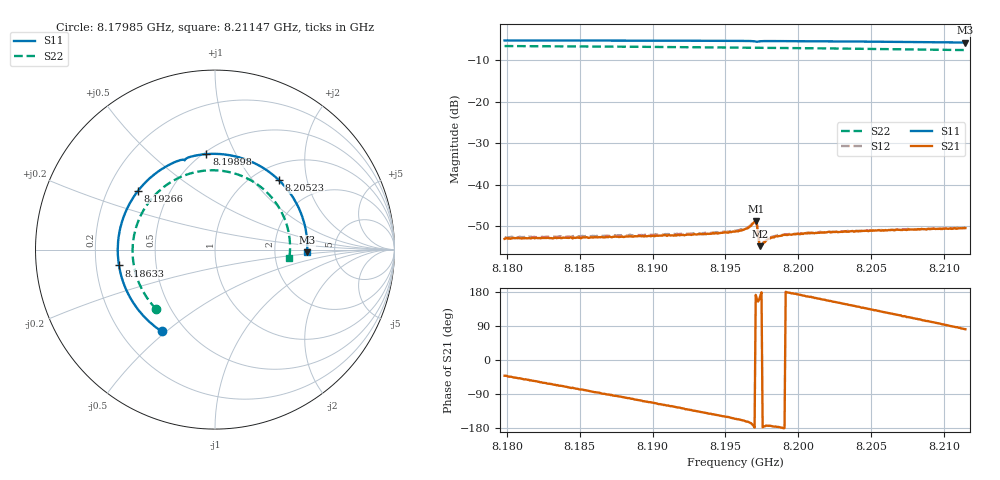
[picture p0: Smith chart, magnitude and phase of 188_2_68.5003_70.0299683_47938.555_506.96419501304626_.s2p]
#  HZ  S  RI  R  50.00
! Rohde & Schwarz Vector Network Analyzer
! Rohde-Schwarz,ZNB20-2Port,1311601062101988,3.16
! Created: UTC 3/20/2024, 4:57:00 PM
! freq[Hz]  re:S11  im:S11  re:S21  im:S21  re:S12  im:S12  re:S22  im:S22
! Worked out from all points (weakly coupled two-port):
!   401 points, 8.17985 GHz to 8.21147 GHz, reference 50 ohm
!   highest |S21| = -48.84 dB at 8.19708 GHz (marker M1); lowest = -54.8 dB at 8.1974 GHz (marker M2)
!   lowest |S11| = -5.8 dB at 8.21147 GHz (marker M3), VSWR 3.11, Z = 155 - j6.37 ohm
!   |S11| at or under -10 dB: nowhere
!   |S22| runs from -7.6 to -6.6 dB; largest |S21 - S12| = 0.00019
!   S11 on the Smith chart (normalised r, x): 8.17985 GHz: 0.37, -0.48; 8.18633 GHz: 0.30, -0.07; 8.19266 GHz: 0.33, +0.31; 8.19898 GHz: 0.52, +0.77; 8.20523 GHz: 1.28, +1.37; 8.21147 GHz: 3.11, -0.13
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8.179848e9  -0.2969 -0.4558  0.00166 -0.00147  0.00176 -0.00154  -0.3274 -0.3316
8.182694e9  -0.4388 -0.3202  0.0011 -0.00198  0.00111 -0.00208  -0.4169 -0.2012
8.185145e9  -0.5157 -0.169  0.000479 -0.00223  0.000467 -0.00236  -0.4552 -0.0706
8.186331e9  -0.5351 -0.0885  0.000154 -0.00233  9.02e-05 -0.00241  -0.4593 -0.00525
8.188387e9  -0.5389 0.0547  -0.000428 -0.00233  -0.00052 -0.00242  -0.4443 0.1076
8.190442e9  -0.5047 0.1942  -0.00108 -0.00217  -0.00117 -0.00219  -0.4017 0.2131
8.192656e9  -0.4279 0.3287  -0.00165 -0.00184  -0.00179 -0.00185  -0.3281 0.311
8.195661e9  -0.2681 0.4658  -0.00247 -0.00113  -0.00257 -0.00109  -0.1903 0.4052
8.196451e9  -0.217 0.4904  -0.00281 -0.000886  -0.00288 -0.000814  -0.1487 0.4209
8.196926e9  -0.1822 0.5006  -0.00342 -0.000407  -0.00353 -0.000261  -0.1231 0.4283
8.197005e9  -0.1761 0.5007  -0.00358 -8.41e-05  -0.00364 7.14e-05  -0.1188 0.4292
8.197084e9  -0.1707 0.4992  -0.00358 0.000513  -0.00366 0.000646  -0.1144 0.4302
8.1974e9  -0.1607 0.5072  -0.00178 0.00032  -0.00181 0.000393  -0.0974 0.4341
8.197558e9  -0.1496 0.5127  -0.00189 -7.66e-05  -0.00195 -2.28e-05  -0.0885 0.4355
8.198032e9  -0.1154 0.5224  -0.00223 -0.000251  -0.00224 -0.000142  -0.0618 0.4395
8.198981e9  -0.0481 0.5321  -0.00248 -4.37e-06  -0.00248 0.000114  -0.0082 0.442
8.200958e9  0.0913 0.5241  -0.00252 0.000659  -0.00253 0.000815  0.1027 0.4261
8.203013e9  0.2285 0.4775  -0.0023 0.00138  -0.0023 0.00148  0.2104 0.3798
8.205227e9  0.356 0.387  -0.00183 0.0021  -0.0018 0.00216  0.3091 0.2982
8.206255e9  0.4049 0.3327  -0.00156 0.00236  -0.0015 0.00242  0.3461 0.2507
8.208943e9  0.4925 0.1637  -0.000627 0.00285  -0.000531 0.0029  0.4083 0.1044
8.211473e9  0.5133 -0.0151  0.000453 0.00296  0.000526 0.00297  0.4139 -0.0479
